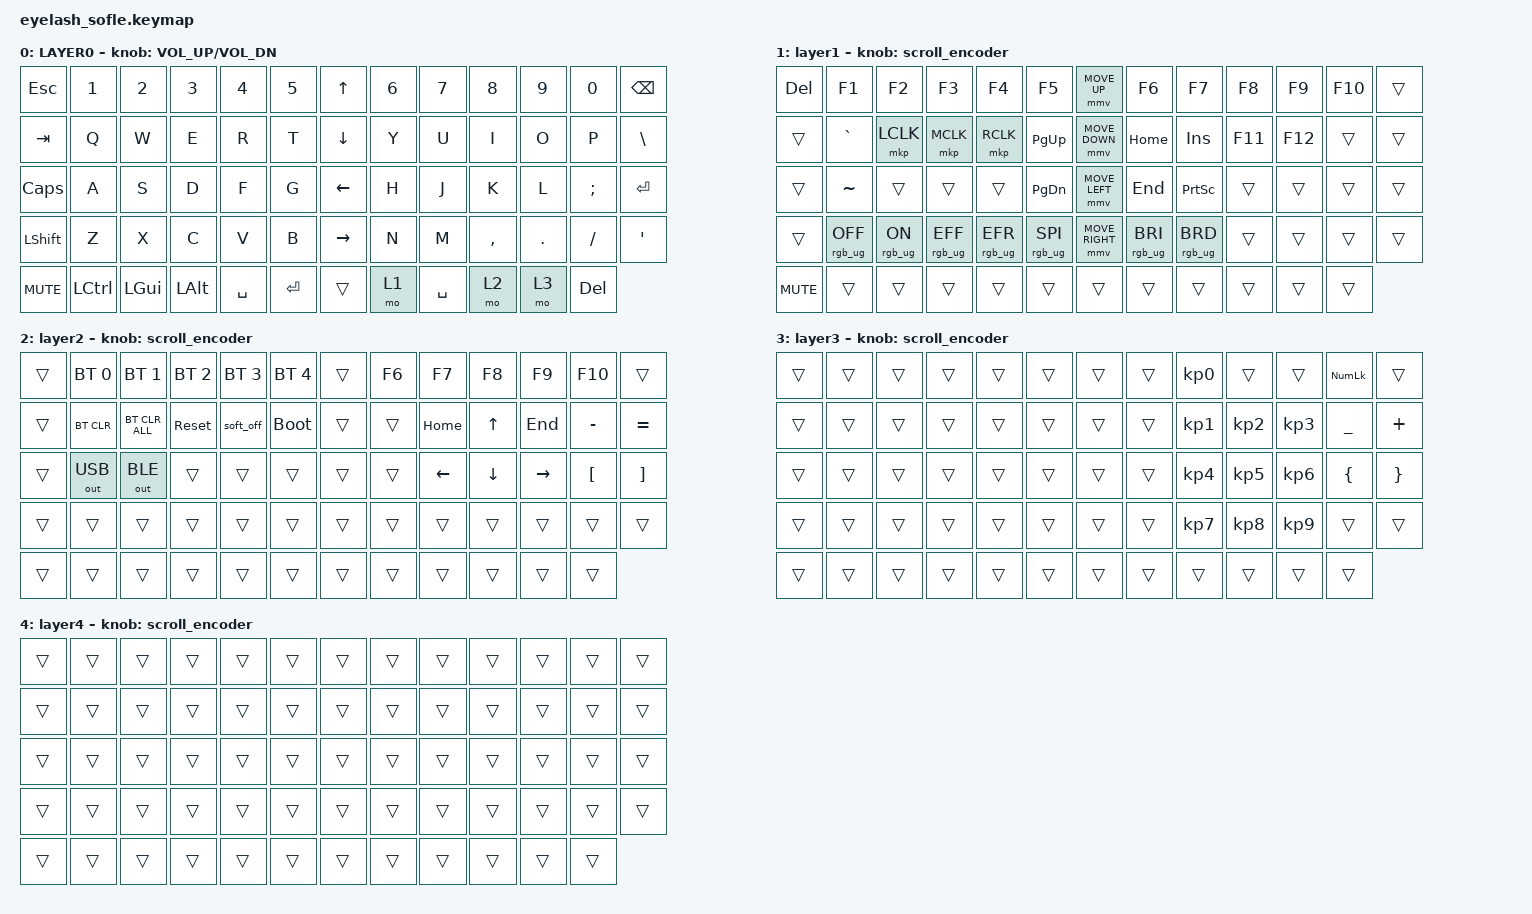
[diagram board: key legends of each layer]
#define ZMK_POINTING_DEFAULT_MOVE_VAL 1200  // 600
#define ZMK_POINTING_DEFAULT_SCRL_VAL 25   // 10

#include <input/processors.dtsi>
#include <zephyr/dt-bindings/input/input-event-codes.h>
#include <behaviors.dtsi>
#include <dt-bindings/zmk/bt.h>
#include <dt-bindings/zmk/keys.h>
#include <dt-bindings/zmk/outputs.h>
#include <dt-bindings/zmk/pointing.h>
#include <dt-bindings/zmk/rgb.h>

&mmv_input_listener { input-processors = <&zip_xy_scaler 2 1>; };

&msc_input_listener { input-processors = <&zip_scroll_scaler 2 1>; };

&msc {
    acceleration-exponent = <1>;      // 0
    time-to-max-speed-ms = <100>;       // 300
    delay-ms = <0>;                   // 0
};

&mmv {
    time-to-max-speed-ms = <500>;
    acceleration-exponent = <1>;
    trigger-period-ms = <16>;
};

&soft_off { hold-time-ms = <2000>; };

/ {
    scroll_encoder: scroll_encoder {
        compatible = "zmk,behavior-sensor-rotate";
        #sensor-binding-cells = <0>;
        bindings = <&msc SCRL_DOWN>, <&msc SCRL_UP>;

        tap-ms = <100>;
    };

    behaviors {
    };

    combos {
        compatible = "zmk,combos";

        softoff {
            bindings = <&soft_off>;
            key-positions = <14 28 40>;
        };
    };

    macros {
        SHIFT_MCLK: SHIFT_MCLK {
            compatible = "zmk,behavior-macro";
            #binding-cells = <0>;
            bindings =
                <&macro_press>,
                <&kp LEFT_SHIFT>,
                <&macro_press>,
                <&mkp MB3>,
                <&macro_pause_for_release>,
                <&macro_release>,
                <&kp LEFT_SHIFT &mkp MB3>;

            label = "SHIFT_MCLK";
        };
    };

    keymap {
        compatible = "zmk,keymap";

        layer0 {
            bindings = <
&kp ESC     &kp N1     &kp N2        &kp N3         &kp N4       &kp N5       &kp UP_ARROW     &kp N6      &kp N7     &kp N8     &kp N9           &kp N0      &kp BACKSPACE
&kp TAB     &kp Q      &kp W         &kp E          &kp R        &kp T        &kp DOWN_ARROW   &kp Y       &kp U      &kp I      &kp O            &kp P       &kp BSLH
&kp CAPS    &kp A      &kp S         &kp D          &kp F        &kp G        &kp LEFT_ARROW   &kp H       &kp J      &kp K      &kp L            &kp SEMI    &kp ENTER
&kp LSHFT   &kp Z      &kp X         &kp C          &kp V        &kp B        &kp RIGHT_ARROW  &kp N       &kp M      &kp COMMA  &kp DOT          &kp FSLH    &kp APOS
&kp C_MUTE  &kp LCTRL  &kp LEFT_GUI  &kp LEFT_ALT   &kp SPACE    &kp ENTER    &trans           &mo 1       &kp SPACE  &mo 2      &mo 3            &kp DELETE
            >;

            sensor-bindings = <&inc_dec_kp C_VOLUME_UP C_VOL_DN>;
            display-name = "LAYER0";
        };

        layer_1 {
            bindings = <
&kp DELETE  &kp F1           &kp F2          &kp F3           &kp F4           &kp F5             &mmv MOVE_UP     &kp F6           &kp F7           &kp F8      &kp F9     &kp F10   &trans
&trans      &kp GRAVE        &mkp LCLK       &mkp MCLK        &mkp RCLK        &kp PG_UP          &mmv MOVE_DOWN   &kp HOME         &kp INSERT       &kp F11     &kp F12    &trans    &trans
&trans      &kp TILDE        &trans          &trans           &trans           &kp PG_DN          &mmv MOVE_LEFT   &kp END          &kp PSCRN        &trans      &trans     &trans    &trans
&trans      &rgb_ug RGB_OFF  &rgb_ug RGB_ON  &rgb_ug RGB_EFF  &rgb_ug RGB_EFR  &rgb_ug RGB_SPI    &mmv MOVE_RIGHT  &rgb_ug RGB_BRI  &rgb_ug RGB_BRD  &trans      &trans     &trans    &trans
&kp C_MUTE  &trans           &trans          &trans           &trans           &trans             &trans           &trans           &trans           &trans      &trans     &trans
            >;

            display-name = "layer1";
            sensor-bindings = <&scroll_encoder>;
        };

        layer_2 {
            bindings = <
&trans     &bt BT_SEL 0  &bt BT_SEL 1    &bt BT_SEL 2  &bt BT_SEL 3  &bt BT_SEL 4        &trans           &kp F6  &kp F7    &kp F8      &kp F9     &kp F10           &trans
&trans     &bt BT_CLR    &bt BT_CLR_ALL  &sys_reset    &soft_off     &bootloader         &trans           &trans  &kp HOME  &kp UP      &kp END    &kp MINUS         &kp EQUAL
&trans     &out OUT_USB  &out OUT_BLE    &trans        &trans        &trans              &trans           &trans  &kp LEFT  &kp DOWN    &kp RIGHT  &kp LEFT_BRACKET  &kp RIGHT_BRACKET
&trans     &trans        &trans          &trans        &trans        &trans              &trans           &trans  &trans    &trans      &trans     &trans            &trans
&trans     &trans        &trans          &trans        &trans        &trans              &trans           &trans  &trans    &trans      &trans     &trans
            >;

            display-name = "layer2";
            sensor-bindings = <&scroll_encoder>;
        };

        layer_3 {
            bindings = <
&trans      &trans       &trans           &trans  &trans  &trans    &trans  &trans  &kp KP_N0      &trans      &trans   &kp KP_NUMLOCK     &trans
&trans      &trans       &trans           &trans  &trans  &trans    &trans  &trans  &kp KP_N1   &kp KP_N2   &kp KP_N3   &kp UNDER    &kp PLUS
&trans      &trans       &trans           &trans  &trans  &trans    &trans  &trans  &kp KP_N4   &kp KP_N5   &kp KP_N6   &kp LBRC     &kp RBRC
&trans      &trans       &trans           &trans  &trans  &trans    &trans  &trans  &kp KP_N7   &kp KP_N8   &kp KP_N9   &trans  &trans
&trans      &trans       &trans           &trans  &trans  &trans    &trans  &trans  &trans  &trans  &trans  &trans
            >;

            display-name = "layer3";
            sensor-bindings = <&scroll_encoder>;
        };

        layer_4 {
            bindings = <
&trans  &trans  &trans  &trans  &trans  &trans    &trans  &trans  &trans  &trans  &trans  &trans  &trans
&trans  &trans  &trans  &trans  &trans  &trans    &trans  &trans  &trans  &trans  &trans  &trans  &trans
&trans  &trans  &trans  &trans  &trans  &trans    &trans  &trans  &trans  &trans  &trans  &trans  &trans
&trans  &trans  &trans  &trans  &trans  &trans    &trans  &trans  &trans  &trans  &trans  &trans  &trans
&trans  &trans  &trans  &trans  &trans  &trans    &trans  &trans  &trans  &trans  &trans  &trans
            >;

            display-name = "layer4";
            sensor-bindings = <&scroll_encoder>;
        };
    };
};
